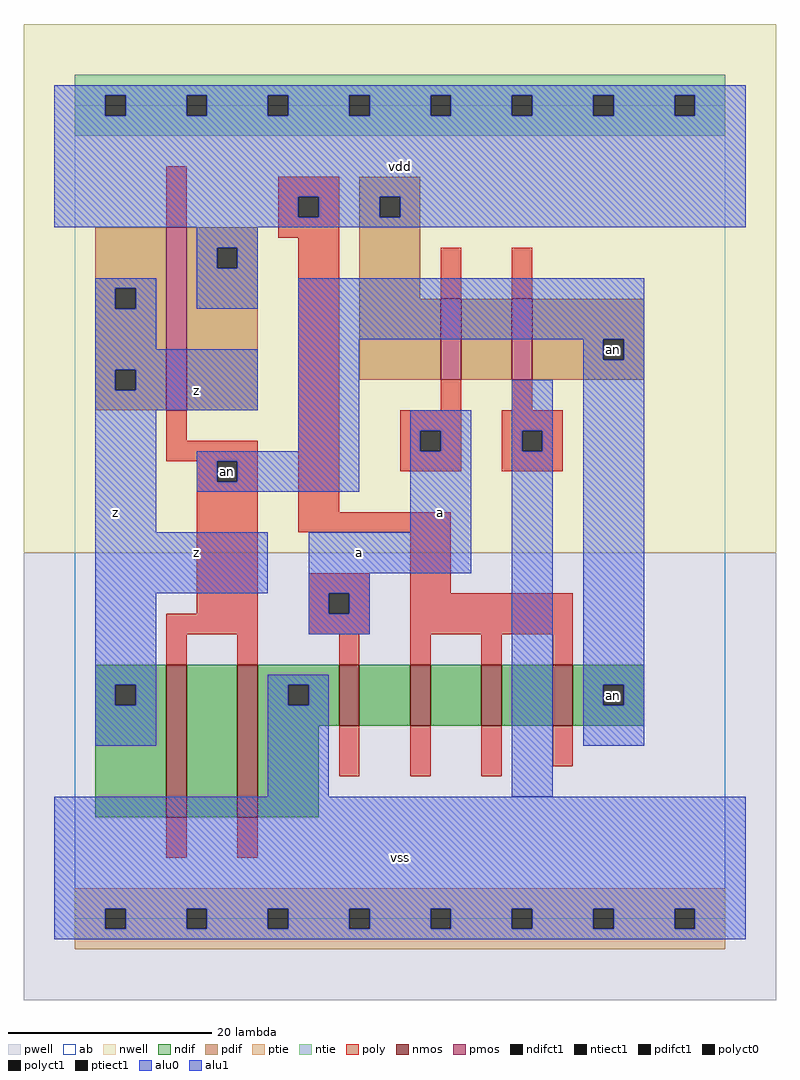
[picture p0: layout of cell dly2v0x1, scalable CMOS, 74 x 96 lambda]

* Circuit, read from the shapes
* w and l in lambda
.subckt dly2v0x1 a an vdd vss z
M1 n1 an z vss nfet w=15 l=2
M2 vss an n1 vss nfet w=15 l=2
M3 n2 a vss vss nfet w=6 l=2
M4 n3 vdd n2 vss nfet w=6 l=2
M5 n4 vdd n3 vss nfet w=6 l=2
M6 an vdd n4 vss nfet w=6 l=2
M7 vdd an z vdd pfet w=18 l=2
M8 n5 a vdd vdd pfet w=8 l=2
M9 an vss n5 vdd pfet w=8 l=2
.ends

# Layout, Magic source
magic
tech scmos
<< ab >>
rect 0 0 64 80
<< nwell >>
rect -5 36 69 88
<< pwell >>
rect -5 -8 69 36
<< poly >>
rect 9 68 11 74
rect 20 71 26 73
rect 20 69 22 71
rect 24 69 26 71
rect 20 67 26 69
rect 9 47 11 50
rect 9 45 18 47
rect 12 43 14 45
rect 16 43 18 45
rect 12 30 18 43
rect 22 40 26 67
rect 36 61 38 66
rect 43 61 45 66
rect 36 50 38 53
rect 43 50 45 53
rect 32 48 38 50
rect 32 46 34 48
rect 36 46 38 48
rect 32 44 38 46
rect 42 48 48 50
rect 42 46 44 48
rect 46 46 48 48
rect 42 44 48 46
rect 22 38 37 40
rect 9 28 18 30
rect 23 32 29 34
rect 23 30 25 32
rect 27 30 29 32
rect 23 28 29 30
rect 33 32 37 38
rect 33 28 49 32
rect 9 25 11 28
rect 16 25 18 28
rect 26 25 28 28
rect 33 25 35 28
rect 40 25 42 28
rect 47 25 49 28
rect 26 14 28 19
rect 33 14 35 19
rect 40 14 42 19
rect 47 15 49 19
rect 9 6 11 10
rect 16 6 18 10
<< ndif >>
rect 2 23 9 25
rect 2 21 4 23
rect 6 21 9 23
rect 2 10 9 21
rect 11 10 16 25
rect 18 23 26 25
rect 18 21 21 23
rect 23 21 26 23
rect 18 19 26 21
rect 28 19 33 25
rect 35 19 40 25
rect 42 19 47 25
rect 49 23 56 25
rect 49 21 52 23
rect 54 21 56 23
rect 49 19 56 21
rect 18 10 24 19
<< pdif >>
rect 2 62 9 68
rect 2 60 4 62
rect 6 60 9 62
rect 2 54 9 60
rect 2 52 4 54
rect 6 52 9 54
rect 2 50 9 52
rect 11 66 18 68
rect 11 64 14 66
rect 16 64 18 66
rect 11 50 18 64
rect 28 71 34 73
rect 28 69 30 71
rect 32 69 34 71
rect 28 61 34 69
rect 28 53 36 61
rect 38 53 43 61
rect 45 57 56 61
rect 45 55 52 57
rect 54 55 56 57
rect 45 53 56 55
<< alu1 >>
rect -2 81 66 82
rect -2 79 3 81
rect 5 79 11 81
rect 13 79 19 81
rect 21 79 27 81
rect 29 79 35 81
rect 37 79 43 81
rect 45 79 51 81
rect 53 79 59 81
rect 61 79 66 81
rect -2 71 66 79
rect -2 69 22 71
rect 24 69 30 71
rect 32 69 66 71
rect -2 68 66 69
rect 12 66 18 68
rect 12 64 14 66
rect 16 64 18 66
rect 2 62 8 63
rect 2 60 4 62
rect 6 60 8 62
rect 12 60 18 64
rect 2 56 8 60
rect 22 57 56 63
rect 2 54 18 56
rect 2 52 4 54
rect 6 52 18 54
rect 2 50 18 52
rect 2 38 8 50
rect 22 46 28 57
rect 50 55 52 57
rect 54 55 56 57
rect 12 45 28 46
rect 12 43 14 45
rect 16 43 28 45
rect 12 42 28 43
rect 33 48 39 50
rect 33 46 34 48
rect 36 46 39 48
rect 33 38 39 46
rect 2 32 19 38
rect 23 34 39 38
rect 23 32 29 34
rect 2 23 8 32
rect 23 30 25 32
rect 27 30 29 32
rect 23 28 29 30
rect 2 21 4 23
rect 6 21 8 23
rect 2 17 8 21
rect 19 23 25 24
rect 19 21 21 23
rect 23 21 25 23
rect 19 12 25 21
rect 50 23 56 55
rect 50 21 52 23
rect 54 21 56 23
rect 50 17 56 21
rect -2 1 66 12
rect -2 -1 3 1
rect 5 -1 11 1
rect 13 -1 19 1
rect 21 -1 27 1
rect 29 -1 35 1
rect 37 -1 43 1
rect 45 -1 51 1
rect 53 -1 59 1
rect 61 -1 66 1
rect -2 -2 66 -1
<< ptie >>
rect 0 1 64 3
rect 0 -1 3 1
rect 5 -1 11 1
rect 13 -1 19 1
rect 21 -1 27 1
rect 29 -1 35 1
rect 37 -1 43 1
rect 45 -1 51 1
rect 53 -1 59 1
rect 61 -1 64 1
rect 0 -3 64 -1
<< ntie >>
rect 0 81 64 83
rect 0 79 3 81
rect 5 79 11 81
rect 13 79 19 81
rect 21 79 27 81
rect 29 79 35 81
rect 37 79 43 81
rect 45 79 51 81
rect 53 79 59 81
rect 61 79 64 81
rect 0 77 64 79
<< nmos >>
rect 9 10 11 25
rect 16 10 18 25
rect 26 19 28 25
rect 33 19 35 25
rect 40 19 42 25
rect 47 19 49 25
<< pmos >>
rect 9 50 11 68
rect 36 53 38 61
rect 43 53 45 61
<< polyct0 >>
rect 44 46 46 48
<< polyct1 >>
rect 22 69 24 71
rect 14 43 16 45
rect 34 46 36 48
rect 25 30 27 32
<< ndifct1 >>
rect 4 21 6 23
rect 21 21 23 23
rect 52 21 54 23
<< ntiect1 >>
rect 3 79 5 81
rect 11 79 13 81
rect 19 79 21 81
rect 27 79 29 81
rect 35 79 37 81
rect 43 79 45 81
rect 51 79 53 81
rect 59 79 61 81
<< ptiect1 >>
rect 3 -1 5 1
rect 11 -1 13 1
rect 19 -1 21 1
rect 27 -1 29 1
rect 35 -1 37 1
rect 43 -1 45 1
rect 51 -1 53 1
rect 59 -1 61 1
<< pdifct1 >>
rect 4 60 6 62
rect 4 52 6 54
rect 14 64 16 66
rect 30 69 32 71
rect 52 55 54 57
<< alu0 >>
rect 43 48 47 53
rect 43 46 44 48
rect 46 46 47 48
rect 43 12 47 46
<< labels >>
rlabel polyct1 15 44 15 44 6 an
rlabel ndifct1 53 22 53 22 6 an
rlabel pdifct1 53 56 53 56 6 an
rlabel alu1 12 36 12 36 6 z
rlabel alu1 4 40 4 40 6 z
rlabel alu1 12 52 12 52 6 z
rlabel alu1 28 36 28 36 6 a
rlabel alu1 32 6 32 6 6 vss
rlabel alu1 36 40 36 40 6 a
rlabel alu1 32 74 32 74 6 vdd
<< end >>
